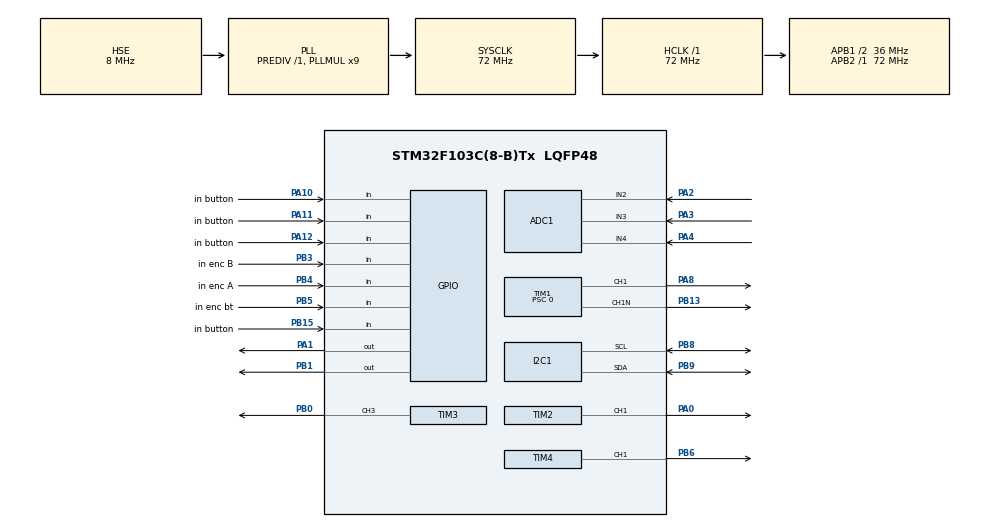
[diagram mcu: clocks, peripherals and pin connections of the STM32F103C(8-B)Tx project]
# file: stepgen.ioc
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ADC1.ContinuousConvMode=DISABLE
ADC1.DiscontinuousConvMode=DISABLE
ADC1.EnableInjectedConversion=DISABLE
ADC1.EnableRegularConversion=DISABLE
ADC1.InjNumberOfConversion=3
ADC1.master=1
Mcu.Family=STM32F1
Mcu.Name=STM32F103C(8-B)Tx
Mcu.Package=LQFP48
NVIC.PriorityGroup=NVIC_PRIORITYGROUP_4
NVIC.TIM1_UP_IRQn=true\:0\:0\:false\:false\:true\:true\:true
PA0-WKUP.Signal=S_TIM2_CH1_ETR
PA1.Signal=GPIO_Output
PA10.GPIO_Label=in button
PA10.GPIO_PuPd=GPIO_PULLUP
PA10.Signal=GPIO_Input
PA11.GPIO_Label=in button
PA11.GPIO_PuPd=GPIO_PULLUP
PA11.Signal=GPIO_Input
PA12.GPIO_Label=in button
PA12.GPIO_PuPd=GPIO_PULLUP
PA12.Signal=GPIO_Input
PA13.Mode=Serial_Wire
PA13.Signal=SYS_JTMS-SWDIO
PA14.Mode=Serial_Wire
PA14.Signal=SYS_JTCK-SWCLK
PA2.Signal=ADCx_IN2
PA3.Signal=ADCx_IN3
PA4.Signal=ADCx_IN4
PA8.Signal=S_TIM1_CH1
PB0.Signal=S_TIM3_CH3
PB1.Signal=GPIO_Output
PB13.Mode=PWM Generation1 CH1 CH1N
PB13.Signal=TIM1_CH1N
PB15.GPIO_Label=in button
PB15.GPIO_PuPd=GPIO_PULLUP
PB15.Signal=GPIO_Input
PB3.GPIO_Label=in enc B
PB3.Signal=GPIO_Input
PB4.GPIO_Label=in enc A
PB4.Signal=GPIO_Input
PB5.GPIO_Label=in enc bt
PB5.GPIO_PuPd=GPIO_PULLUP
PB5.Signal=GPIO_Input
PB6.Signal=S_TIM4_CH1
PB8.Mode=I2C
PB8.Signal=I2C1_SCL
PB9.Mode=I2C
PB9.Signal=I2C1_SDA
PD0-OSC_IN.Mode=HSE-External-Oscillator
PD0-OSC_IN.Signal=RCC_OSC_IN
PD1-OSC_OUT.Mode=HSE-External-Oscillator
PD1-OSC_OUT.Signal=RCC_OSC_OUT
ProjectManager.HeapSize=0x200
ProjectManager.StackSize=0x400
ProjectManager.TargetToolchain=STM32CubeIDE
RCC.ADCPresc=RCC_ADCPCLK2_DIV8
RCC.AHBFreq_Value=72000000
RCC.APB1CLKDivider=RCC_HCLK_DIV2
RCC.APB1Freq_Value=36000000
RCC.APB1TimFreq_Value=72000000
RCC.APB2Freq_Value=72000000
RCC.APB2TimFreq_Value=72000000
RCC.HCLKFreq_Value=72000000
RCC.PLLMUL=RCC_PLL_MUL9
RCC.PLLSourceVirtual=RCC_PLLSOURCE_HSE
RCC.SYSCLKFreq_VALUE=72000000
RCC.SYSCLKSource=RCC_SYSCLKSOURCE_PLLCLK
RCC.USBFreq_Value=72000000
SH.ADCx_IN2.0=ADC1_IN2,IN2
SH.ADCx_IN3.0=ADC1_IN3,IN3
SH.ADCx_IN4.0=ADC1_IN4,IN4
SH.S_TIM1_CH1.0=TIM1_CH1,PWM Generation1 CH1 CH1N
SH.S_TIM2_CH1_ETR.0=TIM2_CH1,PWM Generation1 CH1
SH.S_TIM3_CH3.0=TIM3_CH3,PWM Generation3 CH3
SH.S_TIM4_CH1.0=TIM4_CH1,PWM Generation1 CH1
TIM1.AutoReloadPreload=TIM_AUTORELOAD_PRELOAD_DISABLE
TIM1.Channel-PWM\ Generation1\ CH1\ CH1N=TIM_CHANNEL_1
TIM1.OC1Preload_PWM=DISABLE
TIM1.OCMode_PWM-PWM\ Generation1\ CH1\ CH1N=TIM_OCMODE_PWM2
TIM1.OCNPolarity_1=TIM_OCNPOLARITY_HIGH
TIM1.Period=1000
TIM1.Prescaler=0
TIM1.Pulse-PWM\ Generation1\ CH1\ CH1N=500
TIM2.Channel-PWM\ Generation1\ CH1=TIM_CHANNEL_1
TIM2.OC1Preload_PWM=DISABLE
TIM2.OCMode_PWM-PWM\ Generation1\ CH1=TIM_OCMODE_PWM2
TIM2.Period=60000
TIM2.Pulse-PWM\ Generation1\ CH1=60000
TIM3.Channel-PWM\ Generation3\ CH3=TIM_CHANNEL_3
TIM3.OC3Preload_PWM=DISABLE
TIM3.OCMode_PWM-PWM\ Generation3\ CH3=TIM_OCMODE_PWM2
TIM4.Channel-PWM\ Generation1\ CH1=TIM_CHANNEL_1
TIM4.OC1Preload_PWM=DISABLE
TIM4.OCMode_PWM-PWM\ Generation1\ CH1=TIM_OCMODE_PWM2
TIM4.OCPolarity_1=TIM_OCPOLARITY_LOW
VP_TIM1_VS_ClockSourceINT.Mode=Internal
VP_TIM2_VS_ClockSourceINT.Mode=Internal
board=custom

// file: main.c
/* USER CODE BEGIN Header */
/**
 ******************************************************************************
 * @file           : main.c
 * @brief          : Main program body
 ******************************************************************************
 * @attention
 *
 * <h2><center>&copy; Copyright (c) 2023 STMicroelectronics.
 * All rights reserved.</center></h2>
 *
 * This software component is licensed by ST under BSD 3-Clause license,
 * the "License"; You may not use this file except in compliance with the
 * License. You may obtain a copy of the License at:
 *                        opensource.org/licenses/BSD-3-Clause
 *
 ******************************************************************************
 */
/* USER CODE END Header */
#include "main.h"

ADC_HandleTypeDef hadc1;

I2C_HandleTypeDef hi2c1;

TIM_HandleTypeDef htim1;
TIM_HandleTypeDef htim2;
TIM_HandleTypeDef htim3;
TIM_HandleTypeDef htim4;

/* USER CODE BEGIN PV */
extern sg_traj_t traj;
extern sg_tim_t sg_tim;
extern sg_tim_t sg_tim2;
/* USER CODE END PV */

void SystemClock_Config(void);
static void MX_GPIO_Init(void);
static void MX_TIM1_Init(void);
static void MX_TIM2_Init(void);
static void MX_I2C1_Init(void);
static void MX_ADC1_Init(void);
static void MX_TIM3_Init(void);
static void MX_TIM4_Init(void);

int main(void)
{

  /* MCU Configuration--------------------------------------------------------*/

  /* Reset of all peripherals, Initializes the Flash interface and the Systick. */
  HAL_Init();

  /* Configure the system clock */
  SystemClock_Config();

  /* Initialize all configured peripherals */
  MX_GPIO_Init();
  MX_TIM1_Init();
  MX_TIM2_Init();
  MX_I2C1_Init();
  MX_ADC1_Init();
  MX_TIM3_Init();
  MX_TIM4_Init();
  /* USER CODE BEGIN 2 */

	sg_tim.tim_base = TIM3;
	sg_tim.tim_CCR = (uint32_t *)&TIM3->CCR3;
	sg_tim.ST_period = 0.001f;
	sg_tim.pos_scale = 6400.0f;
	sg_tim.arr = 65535;
	sg_tim.vel_mode = 1;
	sg_tim.Dir_GPIO = GPIOB;
	sg_tim.Dir_GPIO_pin = GPIO_PIN_1;
	sg_tim.pos_scale = 6400.0f;
	sg_tim.upd_period = 65535.0f / 72000000.0f;

	sg_tim2.tim_base = TIM2;
	sg_tim2.tim_CCR = (uint32_t *)&TIM2->CCR1;
	sg_tim2.ST_period = 0.001f;
	sg_tim2.pos_scale = 1600.0f;
	sg_tim2.arr = 65535;
	sg_tim2.vel_mode = 0;
	sg_tim2.Dir_GPIO = GPIOA;
	sg_tim2.Dir_GPIO_pin = GPIO_PIN_1;
	sg_tim2.upd_period = 65535.0f / 72000000.0f;

	traj.max_vel = 1000;
	traj.max_accel = 100;
	traj.enable = 1;
	traj.active = 1;
	traj.vel_cmd = 0;
	traj.upd_period = 65535.0f / 72000000.0f;
	traj.vel_mode = 1;

	SysTick->LOAD = 65535;
	DBGMCU->CR |= DBGMCU_CR_DBG_TIM1_STOP;
	HAL_TIM_PWM_Start(&htim1, TIM_CHANNEL_1);
	HAL_TIMEx_PWMN_Start(&htim1, TIM_CHANNEL_1);
	HAL_TIM_PWM_Start(&htim2, TIM_CHANNEL_1);
	HAL_TIM_PWM_Start(&htim3, TIM_CHANNEL_3);
	HAL_TIM_PWM_Start(&htim4, TIM_CHANNEL_1);
	__HAL_TIM_ENABLE_IT(&htim1, TIM_IT_UPDATE);

  /* USER CODE END 2 */

  /* Infinite loop */
  /* USER CODE BEGIN WHILE */
	while (1) {
		process_loop();
		HAL_Delay(10);
	}
    /* USER CODE END WHILE */

}

void SystemClock_Config(void)
{
  RCC_OscInitTypeDef RCC_OscInitStruct = {0};
  RCC_ClkInitTypeDef RCC_ClkInitStruct = {0};
  RCC_PeriphCLKInitTypeDef PeriphClkInit = {0};

  /** Initializes the RCC Oscillators according to the specified parameters
  * in the RCC_OscInitTypeDef structure.
  */
  RCC_OscInitStruct.OscillatorType = RCC_OSCILLATORTYPE_HSE;
  RCC_OscInitStruct.HSEState = RCC_HSE_ON;
  RCC_OscInitStruct.HSEPredivValue = RCC_HSE_PREDIV_DIV1;
  RCC_OscInitStruct.HSIState = RCC_HSI_ON;
  RCC_OscInitStruct.PLL.PLLState = RCC_PLL_ON;
  RCC_OscInitStruct.PLL.PLLSource = RCC_PLLSOURCE_HSE;
  RCC_OscInitStruct.PLL.PLLMUL = RCC_PLL_MUL9;
  if (HAL_RCC_OscConfig(&RCC_OscInitStruct) != HAL_OK)
  {
    Error_Handler();
  }
  /** Initializes the CPU, AHB and APB buses clocks
  */
  RCC_ClkInitStruct.ClockType = RCC_CLOCKTYPE_HCLK|RCC_CLOCKTYPE_SYSCLK
                              |RCC_CLOCKTYPE_PCLK1|RCC_CLOCKTYPE_PCLK2;
  RCC_ClkInitStruct.SYSCLKSource = RCC_SYSCLKSOURCE_PLLCLK;
  RCC_ClkInitStruct.AHBCLKDivider = RCC_SYSCLK_DIV1;
  RCC_ClkInitStruct.APB1CLKDivider = RCC_HCLK_DIV2;
  RCC_ClkInitStruct.APB2CLKDivider = RCC_HCLK_DIV1;

  if (HAL_RCC_ClockConfig(&RCC_ClkInitStruct, FLASH_LATENCY_2) != HAL_OK)
  {
    Error_Handler();
  }
  PeriphClkInit.PeriphClockSelection = RCC_PERIPHCLK_ADC;
  PeriphClkInit.AdcClockSelection = RCC_ADCPCLK2_DIV8;
  if (HAL_RCCEx_PeriphCLKConfig(&PeriphClkInit) != HAL_OK)
  {
    Error_Handler();
  }
}

static void MX_ADC1_Init(void)
{

  /** Common config
  */
  hadc1.Instance = ADC1;
  hadc1.Init.ScanConvMode = ADC_SCAN_ENABLE;
  hadc1.Init.ContinuousConvMode = DISABLE;
  hadc1.Init.DiscontinuousConvMode = DISABLE;
  hadc1.Init.ExternalTrigConv = ADC_SOFTWARE_START;
  hadc1.Init.DataAlign = ADC_DATAALIGN_RIGHT;
  hadc1.Init.NbrOfConversion = 1;
  if (HAL_ADC_Init(&hadc1) != HAL_OK)
  {
    Error_Handler();
  }
  /* USER CODE BEGIN ADC1_Init 2 */

  ADC_InjectionConfTypeDef sConfigInjected = {0};

  sConfigInjected.InjectedChannel = ADC_CHANNEL_2;
    sConfigInjected.InjectedRank = 1;
    sConfigInjected.InjectedNbrOfConversion = 3;
    sConfigInjected.InjectedSamplingTime = ADC_SAMPLETIME_1CYCLE_5;
    sConfigInjected.ExternalTrigInjecConv = ADC_INJECTED_SOFTWARE_START;
    sConfigInjected.AutoInjectedConv = DISABLE;
    sConfigInjected.InjectedDiscontinuousConvMode = DISABLE;
    sConfigInjected.InjectedOffset = 0;
    if (HAL_ADCEx_InjectedConfigChannel(&hadc1, &sConfigInjected) != HAL_OK)
    {
      Error_Handler();
    }

  sConfigInjected.InjectedChannel = ADC_CHANNEL_3;
  sConfigInjected.InjectedRank = 2;
  if (HAL_ADCEx_InjectedConfigChannel(&hadc1, &sConfigInjected) != HAL_OK)
  {
    Error_Handler();
  }
  /** Configure Injected Channel
  */
  sConfigInjected.InjectedChannel = ADC_CHANNEL_4;
  sConfigInjected.InjectedRank = 3;
  if (HAL_ADCEx_InjectedConfigChannel(&hadc1, &sConfigInjected) != HAL_OK)
  {
    Error_Handler();
  }
  /* USER CODE END ADC1_Init 2 */

}

static void MX_I2C1_Init(void)
{

  hi2c1.Instance = I2C1;
  hi2c1.Init.ClockSpeed = 100000;
  hi2c1.Init.DutyCycle = I2C_DUTYCYCLE_2;
  hi2c1.Init.OwnAddress1 = 0;
  hi2c1.Init.AddressingMode = I2C_ADDRESSINGMODE_7BIT;
  hi2c1.Init.DualAddressMode = I2C_DUALADDRESS_DISABLE;
  hi2c1.Init.OwnAddress2 = 0;
  hi2c1.Init.GeneralCallMode = I2C_GENERALCALL_DISABLE;
  hi2c1.Init.NoStretchMode = I2C_NOSTRETCH_DISABLE;
  if (HAL_I2C_Init(&hi2c1) != HAL_OK)
  {
    Error_Handler();
  }

}

static void MX_TIM1_Init(void)
{

  TIM_ClockConfigTypeDef sClockSourceConfig = {0};
  TIM_MasterConfigTypeDef sMasterConfig = {0};
  TIM_OC_InitTypeDef sConfigOC = {0};
  TIM_BreakDeadTimeConfigTypeDef sBreakDeadTimeConfig = {0};

  htim1.Instance = TIM1;
  htim1.Init.Prescaler = 0;
  htim1.Init.CounterMode = TIM_COUNTERMODE_UP;
  htim1.Init.Period = 1000;
  htim1.Init.ClockDivision = TIM_CLOCKDIVISION_DIV1;
  htim1.Init.RepetitionCounter = 0;
  htim1.Init.AutoReloadPreload = TIM_AUTORELOAD_PRELOAD_DISABLE;
  if (HAL_TIM_Base_Init(&htim1) != HAL_OK)
  {
    Error_Handler();
  }
  sClockSourceConfig.ClockSource = TIM_CLOCKSOURCE_INTERNAL;
  if (HAL_TIM_ConfigClockSource(&htim1, &sClockSourceConfig) != HAL_OK)
  {
    Error_Handler();
  }
  if (HAL_TIM_PWM_Init(&htim1) != HAL_OK)
  {
    Error_Handler();
  }
  sMasterConfig.MasterOutputTrigger = TIM_TRGO_RESET;
  sMasterConfig.MasterSlaveMode = TIM_MASTERSLAVEMODE_DISABLE;
  if (HAL_TIMEx_MasterConfigSynchronization(&htim1, &sMasterConfig) != HAL_OK)
  {
    Error_Handler();
  }
  sConfigOC.OCMode = TIM_OCMODE_PWM2;
  sConfigOC.Pulse = 500;
  sConfigOC.OCPolarity = TIM_OCPOLARITY_HIGH;
  sConfigOC.OCNPolarity = TIM_OCNPOLARITY_HIGH;
  sConfigOC.OCFastMode = TIM_OCFAST_DISABLE;
  sConfigOC.OCIdleState = TIM_OCIDLESTATE_RESET;
  sConfigOC.OCNIdleState = TIM_OCNIDLESTATE_RESET;
  if (HAL_TIM_PWM_ConfigChannel(&htim1, &sConfigOC, TIM_CHANNEL_1) != HAL_OK)
  {
    Error_Handler();
  }
  __HAL_TIM_DISABLE_OCxPRELOAD(&htim1, TIM_CHANNEL_1);
  sBreakDeadTimeConfig.OffStateRunMode = TIM_OSSR_DISABLE;
  sBreakDeadTimeConfig.OffStateIDLEMode = TIM_OSSI_DISABLE;
  sBreakDeadTimeConfig.LockLevel = TIM_LOCKLEVEL_OFF;
  sBreakDeadTimeConfig.DeadTime = 0;
  sBreakDeadTimeConfig.BreakState = TIM_BREAK_DISABLE;
  sBreakDeadTimeConfig.BreakPolarity = TIM_BREAKPOLARITY_HIGH;
  sBreakDeadTimeConfig.AutomaticOutput = TIM_AUTOMATICOUTPUT_DISABLE;
  if (HAL_TIMEx_ConfigBreakDeadTime(&htim1, &sBreakDeadTimeConfig) != HAL_OK)
  {
    Error_Handler();
  }
  HAL_TIM_MspPostInit(&htim1);

}

static void MX_TIM2_Init(void)
{

  TIM_ClockConfigTypeDef sClockSourceConfig = {0};
  TIM_MasterConfigTypeDef sMasterConfig = {0};
  TIM_OC_InitTypeDef sConfigOC = {0};

  htim2.Instance = TIM2;
  htim2.Init.Prescaler = 0;
  htim2.Init.CounterMode = TIM_COUNTERMODE_UP;
  htim2.Init.Period = 60000;
  htim2.Init.ClockDivision = TIM_CLOCKDIVISION_DIV1;
  htim2.Init.AutoReloadPreload = TIM_AUTORELOAD_PRELOAD_DISABLE;
  if (HAL_TIM_Base_Init(&htim2) != HAL_OK)
  {
    Error_Handler();
  }
  sClockSourceConfig.ClockSource = TIM_CLOCKSOURCE_INTERNAL;
  if (HAL_TIM_ConfigClockSource(&htim2, &sClockSourceConfig) != HAL_OK)
  {
    Error_Handler();
  }
  if (HAL_TIM_PWM_Init(&htim2) != HAL_OK)
  {
    Error_Handler();
  }
  sMasterConfig.MasterOutputTrigger = TIM_TRGO_RESET;
  sMasterConfig.MasterSlaveMode = TIM_MASTERSLAVEMODE_DISABLE;
  if (HAL_TIMEx_MasterConfigSynchronization(&htim2, &sMasterConfig) != HAL_OK)
  {
    Error_Handler();
  }
  sConfigOC.OCMode = TIM_OCMODE_PWM2;
  sConfigOC.Pulse = 60000;
  sConfigOC.OCPolarity = TIM_OCPOLARITY_HIGH;
  sConfigOC.OCFastMode = TIM_OCFAST_DISABLE;
  if (HAL_TIM_PWM_ConfigChannel(&htim2, &sConfigOC, TIM_CHANNEL_1) != HAL_OK)
  {
    Error_Handler();
  }
  __HAL_TIM_DISABLE_OCxPRELOAD(&htim2, TIM_CHANNEL_1);
  HAL_TIM_MspPostInit(&htim2);

}

static void MX_TIM3_Init(void)
{

  TIM_MasterConfigTypeDef sMasterConfig = {0};
  TIM_OC_InitTypeDef sConfigOC = {0};

  htim3.Instance = TIM3;
  htim3.Init.Prescaler = 0;
  htim3.Init.CounterMode = TIM_COUNTERMODE_UP;
  htim3.Init.Period = 65535;
  htim3.Init.ClockDivision = TIM_CLOCKDIVISION_DIV1;
  htim3.Init.AutoReloadPreload = TIM_AUTORELOAD_PRELOAD_DISABLE;
  if (HAL_TIM_PWM_Init(&htim3) != HAL_OK)
  {
    Error_Handler();
  }
  sMasterConfig.MasterOutputTrigger = TIM_TRGO_RESET;
  sMasterConfig.MasterSlaveMode = TIM_MASTERSLAVEMODE_DISABLE;
  if (HAL_TIMEx_MasterConfigSynchronization(&htim3, &sMasterConfig) != HAL_OK)
  {
    Error_Handler();
  }
  sConfigOC.OCMode = TIM_OCMODE_PWM2;
  sConfigOC.Pulse = 0;
  sConfigOC.OCPolarity = TIM_OCPOLARITY_HIGH;
  sConfigOC.OCFastMode = TIM_OCFAST_DISABLE;
  if (HAL_TIM_PWM_ConfigChannel(&htim3, &sConfigOC, TIM_CHANNEL_3) != HAL_OK)
  {
    Error_Handler();
  }
  __HAL_TIM_DISABLE_OCxPRELOAD(&htim3, TIM_CHANNEL_3);
  HAL_TIM_MspPostInit(&htim3);

}

static void MX_TIM4_Init(void)
{

  TIM_MasterConfigTypeDef sMasterConfig = {0};
  TIM_OC_InitTypeDef sConfigOC = {0};

  htim4.Instance = TIM4;
  htim4.Init.Prescaler = 0;
  htim4.Init.CounterMode = TIM_COUNTERMODE_UP;
  htim4.Init.Period = 65535;
  htim4.Init.ClockDivision = TIM_CLOCKDIVISION_DIV1;
  htim4.Init.AutoReloadPreload = TIM_AUTORELOAD_PRELOAD_DISABLE;
  if (HAL_TIM_PWM_Init(&htim4) != HAL_OK)
  {
    Error_Handler();
  }
  sMasterConfig.MasterOutputTrigger = TIM_TRGO_RESET;
  sMasterConfig.MasterSlaveMode = TIM_MASTERSLAVEMODE_DISABLE;
  if (HAL_TIMEx_MasterConfigSynchronization(&htim4, &sMasterConfig) != HAL_OK)
  {
    Error_Handler();
  }
  sConfigOC.OCMode = TIM_OCMODE_PWM2;
  sConfigOC.Pulse = 0;
  sConfigOC.OCPolarity = TIM_OCPOLARITY_LOW;
  sConfigOC.OCFastMode = TIM_OCFAST_DISABLE;
  if (HAL_TIM_PWM_ConfigChannel(&htim4, &sConfigOC, TIM_CHANNEL_1) != HAL_OK)
  {
    Error_Handler();
  }
  __HAL_TIM_DISABLE_OCxPRELOAD(&htim4, TIM_CHANNEL_1);
  HAL_TIM_MspPostInit(&htim4);

}

static void MX_GPIO_Init(void)
{
  GPIO_InitTypeDef GPIO_InitStruct = {0};

  /* GPIO Ports Clock Enable */
  __HAL_RCC_GPIOD_CLK_ENABLE();
  __HAL_RCC_GPIOA_CLK_ENABLE();
  __HAL_RCC_GPIOB_CLK_ENABLE();

  /*Configure GPIO pin Output Level */
  HAL_GPIO_WritePin(GPIOA, GPIO_PIN_1, GPIO_PIN_RESET);

  /*Configure GPIO pin Output Level */
  HAL_GPIO_WritePin(GPIOB, GPIO_PIN_1, GPIO_PIN_RESET);

  /*Configure GPIO pin : PA1 */
  GPIO_InitStruct.Pin = GPIO_PIN_1;
  GPIO_InitStruct.Mode = GPIO_MODE_OUTPUT_PP;
  GPIO_InitStruct.Pull = GPIO_NOPULL;
  GPIO_InitStruct.Speed = GPIO_SPEED_FREQ_LOW;
  HAL_GPIO_Init(GPIOA, &GPIO_InitStruct);

  /*Configure GPIO pin : PB1 */
  GPIO_InitStruct.Pin = GPIO_PIN_1;
  GPIO_InitStruct.Mode = GPIO_MODE_OUTPUT_PP;
  GPIO_InitStruct.Pull = GPIO_NOPULL;
  GPIO_InitStruct.Speed = GPIO_SPEED_FREQ_LOW;
  HAL_GPIO_Init(GPIOB, &GPIO_InitStruct);

  /*Configure GPIO pins : in_button_Pin in_enc_bt_Pin */
  GPIO_InitStruct.Pin = in_button_Pin|in_enc_bt_Pin;
  GPIO_InitStruct.Mode = GPIO_MODE_INPUT;
  GPIO_InitStruct.Pull = GPIO_PULLUP;
  HAL_GPIO_Init(GPIOB, &GPIO_InitStruct);

  /*Configure GPIO pins : in_buttonA10_Pin in_buttonA11_Pin in_buttonA12_Pin */
  GPIO_InitStruct.Pin = in_buttonA10_Pin|in_buttonA11_Pin|in_buttonA12_Pin;
  GPIO_InitStruct.Mode = GPIO_MODE_INPUT;
  GPIO_InitStruct.Pull = GPIO_PULLUP;
  HAL_GPIO_Init(GPIOA, &GPIO_InitStruct);

  /*Configure GPIO pins : in_enc_B_Pin in_enc_A_Pin */
  GPIO_InitStruct.Pin = in_enc_B_Pin|in_enc_A_Pin;
  GPIO_InitStruct.Mode = GPIO_MODE_INPUT;
  GPIO_InitStruct.Pull = GPIO_NOPULL;
  HAL_GPIO_Init(GPIOB, &GPIO_InitStruct);

}

void Error_Handler(void)
{
	__disable_irq();
	while (1) {
	}
}

/************************ (C) COPYRIGHT STMicroelectronics *****END OF FILE****/
